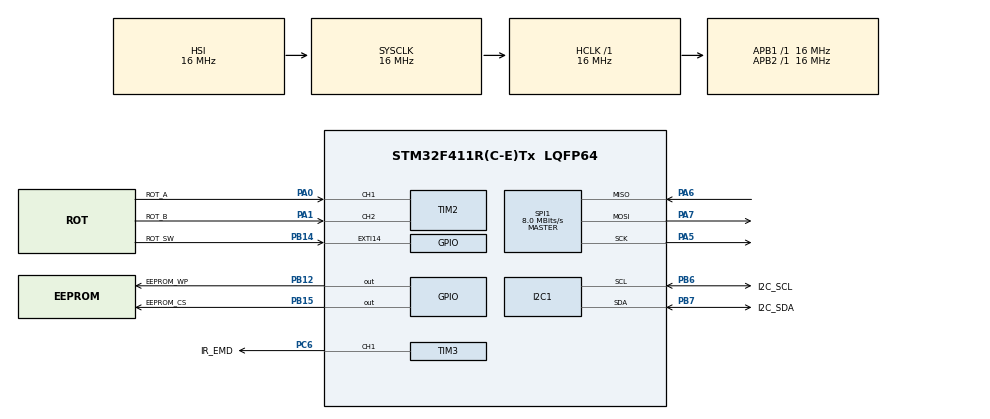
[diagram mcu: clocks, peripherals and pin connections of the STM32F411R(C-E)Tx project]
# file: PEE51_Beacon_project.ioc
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Mcu.Family=STM32F4
Mcu.Name=STM32F411R(C-E)Tx
Mcu.Package=LQFP64
NVIC.EXTI15_10_IRQn=true\:0\:0\:false\:false\:true\:true\:true\:true
NVIC.PriorityGroup=NVIC_PRIORITYGROUP_4
NVIC.TIM2_IRQn=true\:0\:0\:false\:false\:true\:true\:true\:true
NVIC.TIM4_IRQn=true\:0\:0\:false\:false\:true\:true\:true\:true
PA0-WKUP.GPIO_Label=ROT_A
PA0-WKUP.Signal=S_TIM2_CH1_ETR
PA1.GPIO_Label=ROT_B
PA1.Signal=S_TIM2_CH2
PA13.GPIO_Label=SWDIO
PA13.Mode=Serial_Wire
PA13.Signal=SYS_JTMS-SWDIO
PA14.GPIO_Label=SWCLK
PA14.Mode=Serial_Wire
PA14.Signal=SYS_JTCK-SWCLK
PA5.Mode=Full_Duplex_Master
PA5.Signal=SPI1_SCK
PA6.Mode=Full_Duplex_Master
PA6.Signal=SPI1_MISO
PA7.Mode=Full_Duplex_Master
PA7.Signal=SPI1_MOSI
PB12.GPIO_Label=EEPROM_WP
PB12.Signal=GPIO_Output
PB14.GPIO_Label=ROT_SW
PB14.GPIO_PuPd=GPIO_PULLUP
PB14.Signal=GPXTI14
PB15.GPIO_Label=EEPROM_CS
PB15.Signal=GPIO_Output
PB3.Signal=SYS_JTDO-SWO
PB6.GPIO_Label=I2C_SCL
PB6.Mode=I2C
PB6.Signal=I2C1_SCL
PB7.GPIO_Label=I2C_SDA
PB7.Mode=I2C
PB7.Signal=I2C1_SDA
PC6.GPIO_Label=IR_EMD
PC6.Signal=S_TIM3_CH1
PH0\ -\ OSC_IN.Mode=HSE-External-Oscillator
PH0\ -\ OSC_IN.Signal=RCC_OSC_IN
PH1\ -\ OSC_OUT.Mode=HSE-External-Oscillator
PH1\ -\ OSC_OUT.Signal=RCC_OSC_OUT
ProjectManager.HeapSize=0x200
ProjectManager.StackSize=0x400
ProjectManager.TargetToolchain=STM32CubeIDE
RCC.48MHZClocksFreq_Value=48000000
RCC.AHBFreq_Value=16000000
RCC.APB1Freq_Value=16000000
RCC.APB1TimFreq_Value=16000000
RCC.APB2Freq_Value=16000000
RCC.APB2TimFreq_Value=16000000
RCC.CortexFreq_Value=16000000
RCC.HCLKFreq_Value=16000000
RCC.HSE_VALUE=8000000
RCC.HSI_VALUE=16000000
RCC.LSE_VALUE=32768
RCC.SYSCLKFreq_VALUE=16000000
RCC.VCOOutputFreq_Value=192000000
SH.S_TIM2_CH1_ETR.0=TIM2_CH1,Encoder_Interface
SH.S_TIM2_CH2.0=TIM2_CH2,Encoder_Interface
SH.S_TIM3_CH1.0=TIM3_CH1,PWM Generation1 CH1
SPI1.CalculateBaudRate=8.0 MBits/s
SPI1.Direction=SPI_DIRECTION_2LINES
SPI1.Mode=SPI_MODE_MASTER
SPI1.VirtualType=VM_MASTER
TIM2.IC1Polarity=TIM_ICPOLARITY_FALLING
TIM3.AutoReloadPreload=TIM_AUTORELOAD_PRELOAD_ENABLE
TIM3.Channel-PWM\ Generation1\ CH1=TIM_CHANNEL_1
TIM3.Period=106-1
TIM3.Prescaler=4-1
TIM3.Pulse-PWM\ Generation1\ CH1=52
TIM4.Period=899
TIM4.Prescaler=16
VP_TIM3_VS_ClockSourceINT.Mode=Internal
VP_TIM4_VS_ClockSourceINT.Mode=Internal
board=custom

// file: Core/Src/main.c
/* USER CODE BEGIN Header */
/**
 ******************************************************************************
 * @file           : main.c
 * @brief          : Main program body
 ******************************************************************************
 * @attention
 *
 * Copyright (c) 2024 STMicroelectronics.
 * All rights reserved.
 *
 * This software is licensed under terms that can be found in the LICENSE file
 * in the root directory of this software component.
 * If no LICENSE file comes with this software, it is provided AS-IS.
 *
 * This program was made for a project named Interactive Glasses and was
 * This constructed for the TU-Delft.
 * Writers of this code:
 * Mees de Jong
 * Yu Cheng Zhong
 * Rembrandt Dassen
 * Martijn Koelewijn
 ******************************************************************************
 */
/* USER CODE END Header */
#include "main.h"
#include "i2c.h"
#include "spi.h"
#include "tim.h"
#include "gpio.h"

/* USER CODE BEGIN Includes */
#include "ssd1306.h"
#include "fonts.h"
#include "stdbool.h"
#include "stdio.h"
#include "string.h"
#include "math.h"
/* USER CODE END Includes */

/* USER CODE BEGIN PV */
// message array is the array that is used to output the manchester encoded bits
// this message array is thus twice as big as the amount of data sent
int16_t data_message = 0; // data to be transmitted, first lsb need to be1 always
uint32_t transmit_message = 0b00000000000000000000000000000001; // message to be transmitted, first two least significant bits need to be 0x01 always
int count = 0;		// count used for keeping track of amount of times IR interrupt is entered

uint16_t RC_counter = 0;
uint16_t time_passed = 0;
bool time_reached = false;
uint16_t Dispurtion_time = 0;

// HMI settings and variables
int counter = 0;
int counter_old = 0;
static int menu_position = 0;
char str[10];
bool left;
bool right;
static bool setting_isbron = true;
static uint8_t setting_intensiteit = 0;
uint16_t setting_timer = 0;
uint8_t setting_timer_deel1 = 0;
uint8_t setting_timer_deel2 = 0;
static int seconds = 0;
bool save_data = 0;

enum size {
	small = 0, big = 1
};

// Instructions and memory addresses for the EEPROM

const uint8_t EEPROM_READ = 0b00000011;	//READ
const uint8_t EEPROM_WRITE = 0b00000010;	//WRITE
const uint8_t EEPROM_WRDI = 0b00000100;	//WRITE DISABLE
const uint8_t EEPROM_WREN = 0b00000110;	//WRITE ENABLE
const uint8_t EEPROM_RDSR = 0b00000101;	//READ STATUS REGISTER
const uint8_t EEPROM_WRSR = 0b00000001;	//WRITE STATUS REGISTER
const uint8_t MODE = 0b00000001;	//SETTING MODE OPSLAG LOCATIE
const uint8_t INTENSITEIT = 0b00000010;	//SETTING INTENSITEIT OPSLAG LOCATIE
const uint8_t DISPERSIONTIME1 = 0b00000011;	//SETTINGS DISPERSIONTIME DEEL 1 OPSLAG LOCATIE
const uint8_t DISPERSIONTIME2 = 0b00000100;	//SETTINGS DISPERSIONTIME DEEL 2 OPSLAG LOCATIE

/* USER CODE END PV */

void SystemClock_Config(void);

/* USER CODE BEGIN 0 */
void user_pwm_setvalue(uint16_t value)
{
    TIM_OC_InitTypeDef sConfigOC;

    sConfigOC.OCMode = TIM_OCMODE_PWM1;
    sConfigOC.Pulse = value;
    sConfigOC.OCPolarity = TIM_OCPOLARITY_HIGH;
    sConfigOC.OCFastMode = TIM_OCFAST_DISABLE;
    HAL_TIM_PWM_ConfigChannel(&htim3, &sConfigOC, TIM_CHANNEL_1);
    HAL_TIM_PWM_Start(&htim3, TIM_CHANNEL_1);
}

void data_to_transmit() {
	for (int i = 0; i < 16; i++)
	{
		if (data_message & (1 << i)) {
			transmit_message |= (1 << (i * 2));
			transmit_message &= ~(1 << (i * 2 + 1));
		} else {
			transmit_message &= ~(1 << (i * 2));
			transmit_message |= (1 << (i * 2 + 1));
		}
	}
}

void print_time(enum size size) {
	if (size == big) {
		ssd1306_SetCursor(0, 20);
		if (setting_timer / 3600 > 0) {
			sprintf(str, "%dh", setting_timer / 3600);
			ssd1306_WriteString(str, Font_16x26, White);
		} else if (setting_timer / 60 > 0) {
			sprintf(str, "%dm %ds", setting_timer / 60, setting_timer % 60);
			ssd1306_WriteString(str, Font_16x26, White);
		} else {
			sprintf(str, "%ds", setting_timer % 60);
			ssd1306_WriteString(str, Font_16x26, White);
		}

	} else {

		if (setting_timer <= 0) {
		}
		if (setting_timer / 3600 > 0) {
			sprintf(str, "%dh", setting_timer / 3600);
			ssd1306_WriteString(str, Font_7x10, White);
		} else if (setting_timer / 60 > 0) {
			sprintf(str, "%dm %ds", setting_timer / 60, setting_timer % 60);
			ssd1306_WriteString(str, Font_7x10, White);
		} else {
			sprintf(str, "%ds", setting_timer % 60);
			ssd1306_WriteString(str, Font_7x10, White);
		}
	}
}

void save_settings(uint8_t *address, uint8_t *value) {
	HAL_GPIO_WritePin(GPIOB, EEPROM_CS_Pin, GPIO_PIN_RESET);
	HAL_SPI_Transmit(&hspi1, (uint8_t*) &EEPROM_WREN, 1, 100);
	HAL_GPIO_WritePin(GPIOB, EEPROM_CS_Pin, GPIO_PIN_SET);
	HAL_Delay(100);
	HAL_GPIO_WritePin(GPIOB, EEPROM_CS_Pin, GPIO_PIN_RESET);
	HAL_SPI_Transmit(&hspi1, (uint8_t*) &EEPROM_WRITE, 1, 100);
	HAL_SPI_Transmit(&hspi1, address, 1, 100);
	HAL_SPI_Transmit(&hspi1, value, 1, 100);//Bron setting
	HAL_GPIO_WritePin(GPIOB, EEPROM_CS_Pin, GPIO_PIN_SET);
	HAL_Delay(100);
	HAL_GPIO_WritePin(GPIOB, EEPROM_CS_Pin, GPIO_PIN_RESET);
	HAL_SPI_Transmit(&hspi1, (uint8_t*) &EEPROM_WRDI, 1, 100);
	HAL_GPIO_WritePin(GPIOB, EEPROM_CS_Pin, GPIO_PIN_SET);
	HAL_Delay(100);
}
/* USER CODE END 0 */

int main(void)
{

  /* MCU Configuration--------------------------------------------------------*/

  /* Reset of all peripherals, Initializes the Flash interface and the Systick. */
  HAL_Init();

  /* Configure the system clock */
  SystemClock_Config();

  /* Initialize all configured peripherals */
  MX_GPIO_Init();
  MX_I2C1_Init();
  MX_TIM2_Init();
  MX_SPI1_Init();
  MX_TIM3_Init();
  MX_TIM4_Init();
  /* USER CODE BEGIN 2 */

	HAL_TIM_Encoder_Start_IT(&htim2, TIM_CHANNEL_ALL);

	if (ssd1306_Init(&hi2c1) != 0) {
		Error_Handler();
	}
	HAL_Delay(200);

	ssd1306_Fill(Black);
	ssd1306_UpdateScreen(&hi2c1);

	HAL_Delay(200);

	// Write data to local screenbuffer
	ssd1306_SetCursor(0, 0);
	ssd1306_WriteString("Starting up", Font_7x10, White);

	ssd1306_SetCursor(0, 15);
	ssd1306_WriteString("Interactive", Font_7x10, White);

	ssd1306_SetCursor(0, 30);
	ssd1306_WriteString("Glasses", Font_7x10, White);

	ssd1306_SetCursor(0, 45);
	ssd1306_WriteString("Software V1.3", Font_7x10, White);
	// Copy all data from local screenbuffer to the screen
	ssd1306_UpdateScreen(&hi2c1);

	HAL_Delay(2000);

	uint8_t status = 0;
	uint8_t SETTINGS1 = 0;
	uint8_t SETTINGS2 = 0;
	uint8_t SETTINGS3 = 0;
	uint8_t SETTINGS4 = 0;
	uint16_t SETTINGS5 = 0;
//int test2 = 0;

	HAL_GPIO_WritePin(GPIOB, EEPROM_WP_Pin, GPIO_PIN_SET);
	HAL_GPIO_WritePin(GPIOB, EEPROM_CS_Pin, GPIO_PIN_RESET);
	HAL_SPI_Transmit(&hspi1, (uint8_t*) &EEPROM_WREN, 1, 100);
	HAL_GPIO_WritePin(GPIOB, EEPROM_CS_Pin, GPIO_PIN_SET);
	HAL_Delay(100);
	HAL_GPIO_WritePin(GPIOB, EEPROM_CS_Pin, GPIO_PIN_RESET);
	HAL_SPI_Transmit(&hspi1, (uint8_t*) &EEPROM_RDSR, 1, 100);
	HAL_SPI_Receive(&hspi1, &status, 1, 100);
	HAL_GPIO_WritePin(GPIOB, EEPROM_CS_Pin, GPIO_PIN_SET);
	HAL_Delay(100);

	HAL_GPIO_WritePin(GPIOB, EEPROM_CS_Pin, GPIO_PIN_RESET);
	HAL_SPI_Transmit(&hspi1, (uint8_t*) &EEPROM_READ, 1, 100);
	HAL_SPI_Transmit(&hspi1, (uint8_t*) &MODE, 1, 100);
	HAL_SPI_Receive(&hspi1, &SETTINGS1, 1, 100);
	HAL_GPIO_WritePin(GPIOB, EEPROM_CS_Pin, GPIO_PIN_SET);
	HAL_Delay(100);

	HAL_GPIO_WritePin(GPIOB, EEPROM_CS_Pin, GPIO_PIN_RESET);
	HAL_SPI_Transmit(&hspi1, (uint8_t*) &EEPROM_READ, 1, 100);
	HAL_SPI_Transmit(&hspi1, (uint8_t*) &INTENSITEIT, 1, 100);
	HAL_SPI_Receive(&hspi1, &SETTINGS2, 1, 100);
	HAL_GPIO_WritePin(GPIOB, EEPROM_CS_Pin, GPIO_PIN_SET);
	HAL_Delay(100);

	HAL_GPIO_WritePin(GPIOB, EEPROM_CS_Pin, GPIO_PIN_RESET);
	HAL_SPI_Transmit(&hspi1, (uint8_t*) &EEPROM_READ, 1, 100);
	HAL_SPI_Transmit(&hspi1, (uint8_t*) &DISPERSIONTIME1, 1, 100);
	HAL_SPI_Receive(&hspi1, &SETTINGS3, 1, 100);
	HAL_GPIO_WritePin(GPIOB, EEPROM_CS_Pin, GPIO_PIN_SET);
	HAL_Delay(100);

	HAL_GPIO_WritePin(GPIOB, EEPROM_CS_Pin, GPIO_PIN_RESET);
	HAL_SPI_Transmit(&hspi1, (uint8_t*) &EEPROM_READ, 1, 100);
	HAL_SPI_Transmit(&hspi1, (uint8_t*) &DISPERSIONTIME2, 1, 100);
	HAL_SPI_Receive(&hspi1, &SETTINGS4, 1, 100);
	HAL_GPIO_WritePin(GPIOB, EEPROM_CS_Pin, GPIO_PIN_SET);
	HAL_Delay(100);

	HAL_GPIO_WritePin(GPIOB, EEPROM_CS_Pin, GPIO_PIN_RESET);
	HAL_SPI_Transmit(&hspi1, (uint8_t*) &EEPROM_WRDI, 1, 100);
	HAL_GPIO_WritePin(GPIOB, EEPROM_CS_Pin, GPIO_PIN_SET);

	SETTINGS5 = (SETTINGS3 | (SETTINGS4 << 8)); // Recover full timer value

	if ((SETTINGS2 > 0 && SETTINGS2 <= 250) || (SETTINGS5 > 0 && SETTINGS5 <= 3600)) {
		setting_isbron = SETTINGS1;
		setting_intensiteit = SETTINGS2;
		setting_timer = SETTINGS5;
		menu_position = 4;
		EXTI->SWIER |= EXTI_SWIER_SWIER14;

	}
	else {
		ssd1306_Fill(Black);
		ssd1306_UpdateScreen(&hi2c1);
		ssd1306_SetCursor(0, 0);
		ssd1306_WriteString("Rotate to begin", Font_7x10, White);
		ssd1306_UpdateScreen(&hi2c1);

	}

	if (HAL_TIM_Base_Start_IT(&htim4) != HAL_OK) {
		/* Starting Error */
		Error_Handler();
	}

  /* USER CODE END 2 */

  /* Infinite loop */
	while (1) {

    /* USER CODE BEGIN 3 */
		if (save_data == 1) {
			save_settings((uint8_t*) &MODE, (uint8_t*) &setting_isbron);
			save_settings((uint8_t*) &INTENSITEIT, (uint8_t*) &setting_intensiteit);
			save_settings((uint8_t*) &DISPERSIONTIME1, (uint8_t*) &setting_timer_deel1);
			save_settings((uint8_t*) &DISPERSIONTIME2, (uint8_t*) &setting_timer_deel2);
			save_data = 0;
		}

	}
  /* USER CODE END 3 */
}

void SystemClock_Config(void)
{
  RCC_OscInitTypeDef RCC_OscInitStruct = {0};
  RCC_ClkInitTypeDef RCC_ClkInitStruct = {0};

  /** Configure the main internal regulator output voltage
  */
  __HAL_RCC_PWR_CLK_ENABLE();
  __HAL_PWR_VOLTAGESCALING_CONFIG(PWR_REGULATOR_VOLTAGE_SCALE1);

  /** Initializes the RCC Oscillators according to the specified parameters
  * in the RCC_OscInitTypeDef structure.
  */
  RCC_OscInitStruct.OscillatorType = RCC_OSCILLATORTYPE_HSI;
  RCC_OscInitStruct.HSIState = RCC_HSI_ON;
  RCC_OscInitStruct.HSICalibrationValue = RCC_HSICALIBRATION_DEFAULT;
  RCC_OscInitStruct.PLL.PLLState = RCC_PLL_NONE;
  if (HAL_RCC_OscConfig(&RCC_OscInitStruct) != HAL_OK)
  {
    Error_Handler();
  }

  /** Initializes the CPU, AHB and APB buses clocks
  */
  RCC_ClkInitStruct.ClockType = RCC_CLOCKTYPE_HCLK|RCC_CLOCKTYPE_SYSCLK
                              |RCC_CLOCKTYPE_PCLK1|RCC_CLOCKTYPE_PCLK2;
  RCC_ClkInitStruct.SYSCLKSource = RCC_SYSCLKSOURCE_HSI;
  RCC_ClkInitStruct.AHBCLKDivider = RCC_SYSCLK_DIV1;
  RCC_ClkInitStruct.APB1CLKDivider = RCC_HCLK_DIV1;
  RCC_ClkInitStruct.APB2CLKDivider = RCC_HCLK_DIV1;

  if (HAL_RCC_ClockConfig(&RCC_ClkInitStruct, FLASH_LATENCY_0) != HAL_OK)
  {
    Error_Handler();
  }
}

/* USER CODE BEGIN 4 */
void HAL_GPIO_EXTI_Callback(uint16_t GPIO_Pin) {
	NVIC_DisableIRQ(TIM4_IRQn);
	TIM4->CR1 &= ~TIM_CR1_CEN;
	TIM4->CNT = 0;

	// Disable receiving inteerupts

	NVIC_EnableIRQ(TIM2_IRQn);

	switch (menu_position) {
	case 0:
		if (left == true && right == false) {
			setting_isbron = true;
			menu_position = 1;
		} else if (left == false && right == true) {
			setting_isbron = false;
			menu_position = 2;
		}

		break;
	case 1:
		menu_position = 2;

		break;
	case 2:
		menu_position = 3;

		break;
	case 3:
		menu_position = 4;
		break;

	}

	ssd1306_SetCursor(0, 0);
	ssd1306_Fill(Black);
	switch (menu_position) {
	case 1:
		ssd1306_WriteString("Intensity ", Font_7x10, White);
		ssd1306_SetCursor(0, 20);
		sprintf(str, "%d", setting_intensiteit);
		ssd1306_WriteString(str, Font_16x26, White);
		break;
	case 2:
		ssd1306_WriteString("Dispersion time ", Font_7x10, White);
		ssd1306_SetCursor(0, 20);
		sprintf(str, "%ds", seconds);
		ssd1306_WriteString(str, Font_16x26, White);

		break;
	case 3:
		ssd1306_WriteString("Dispersion time ", Font_7x10, White);
		ssd1306_SetCursor(0, 20);
		if (setting_timer / 3600 > 0) {
			sprintf(str, "%dh", setting_timer / 3600);
			ssd1306_WriteString(str, Font_16x26, White);
		} else if (setting_timer / 60 > 0) {
			sprintf(str, "%dm %ds", setting_timer / 60, setting_timer % 60);
			ssd1306_WriteString(str, Font_16x26, White);
		} else {
			sprintf(str, "%ds", setting_timer % 60);
			ssd1306_WriteString(str, Font_16x26, White);
		}
		break;
	case 4:
		if (setting_isbron == true) {
			ssd1306_WriteString("Setup: Source", Font_7x10, White);
			ssd1306_SetCursor(0, 15);
			ssd1306_WriteString("Intensity:", Font_7x10, White);
			ssd1306_SetCursor(69, 15);
			sprintf(str, "%d", setting_intensiteit / 50);
			ssd1306_WriteString(str, Font_7x10, White);
			ssd1306_SetCursor(0, 30);
			ssd1306_WriteString("Dispersion:", Font_7x10, White);
			ssd1306_SetCursor(78, 30);
			print_time(small);
			ssd1306_SetCursor(0, 45);
			ssd1306_WriteString("Rotate to darken", Font_7x10, White);
			setting_timer_deel1 = (uint8_t) (setting_timer);
			setting_timer_deel2 = (uint8_t) (setting_timer >> 8);
			save_data = 1;

		} else {
			ssd1306_WriteString("Setup: Node", Font_7x10, White);
			ssd1306_SetCursor(0, 15);
			ssd1306_WriteString("Dispersion:", Font_7x10, White);
			ssd1306_SetCursor(80, 15);
			print_time(small);
			ssd1306_SetCursor(0, 45);
			ssd1306_WriteString("Rotate to darken", Font_7x10, White);
			setting_timer_deel1 = (uint8_t) (setting_timer);
			setting_timer_deel2 = (uint8_t) (setting_timer >> 8);
			save_data = 1;
		}

		menu_position = 5; //Goto enable sender
		break;
	case 5:
		ssd1306_WriteString("Reset? press to", Font_7x10, White);
		ssd1306_SetCursor(0, 10);
		ssd1306_WriteString("confirm", Font_7x10, White);
		ssd1306_SetCursor(0, 30);
		ssd1306_WriteString("Rotate to darken", Font_7x10, White);
		menu_position = 6;
		break;
	case 6:
		ssd1306_WriteString("Reset confirmed!", Font_7x10, White);
		ssd1306_SetCursor(0, 20);
		ssd1306_WriteString("Rotate to begin", Font_7x10, White);
		setting_intensiteit = 0;
		setting_timer = 0;
		time_passed = 0;
		time_reached = false;
		menu_position = 0;
		break;

	}
	ssd1306_UpdateScreen(&hi2c1);

}

void HAL_TIM_IC_CaptureCallback(TIM_HandleTypeDef *htim) {

	counter = (__HAL_TIM_GET_COUNTER(htim) / 4);

	if (counter > counter_old) {

		left = true;
		right = false;

		ssd1306_SetCursor(0, 0);
		ssd1306_Fill(Black);
		switch (menu_position) {
		case 0:
			ssd1306_WriteString("Setup as", Font_7x10, White);
			ssd1306_SetCursor(0, 20);
			ssd1306_WriteString("Source", Font_16x26, White);
			break;
		case 1:
			ssd1306_WriteString("Intensity ", Font_7x10, White);
			if (setting_intensiteit <= 0) {
				setting_intensiteit = 0;
			} else {
				setting_intensiteit = setting_intensiteit - 50;
			}
			ssd1306_SetCursor(0, 20);
			sprintf(str, "%d", setting_intensiteit / 50);
			ssd1306_WriteString(str, Font_16x26, White);
			break;
		case 2:
			ssd1306_WriteString("Dispersion time ", Font_7x10, White);
			if (setting_timer <= 0) {
			} else {
				setting_timer = setting_timer - 300;
			}
			print_time(big);
			break;
		case 3:
			ssd1306_WriteString("Dispersion time ", Font_7x10, White);
			if (setting_timer <= 0) {
			} else {
				setting_timer = setting_timer - 30;
			}
			print_time(big);
			break;
		case 5:
			if (setting_isbron) {
				Dispurtion_time = setting_timer;
				NVIC_EnableIRQ(TIM4_IRQn); // Enable sending interrupe
				TIM4->CR1 |= TIM_CR1_CEN; // Enable timer counter
				TIM4->CNT = 0;
			}
			else {
				// Enable receiving interrupts
			}
			NVIC_DisableIRQ(TIM2_IRQn); // Disable Rotary encoder
			break;
		case 6:
			menu_position = 5;
			if (setting_isbron) {
				Dispurtion_time = setting_timer;
				NVIC_EnableIRQ(TIM4_IRQn); // Enable sending interrupe
				TIM4->CR1 |= TIM_CR1_CEN; // Enable timer counter
				TIM4->CNT = 0;
			}
			else {
				// enable receiving interrupts
			}
			NVIC_DisableIRQ(TIM2_IRQn); // Disable Rotary encoder
			break;

		}
	} else if (counter < counter_old) {

		right = true;
		left = false;
		ssd1306_SetCursor(0, 0);
		ssd1306_Fill(Black);
		switch (menu_position) {
		case 0:
			ssd1306_WriteString("Setup as", Font_7x10, White);
			ssd1306_SetCursor(0, 20);
			ssd1306_WriteString("(Node)", Font_16x26, White);
			break;
		case 1:
			ssd1306_WriteString("Intensity ", Font_7x10, White);
			if (setting_intensiteit >= 250) {
				setting_intensiteit = 250;
			} else {
				setting_intensiteit = setting_intensiteit + 50;
			}
			ssd1306_SetCursor(0, 20);
			sprintf(str, "%d", setting_intensiteit / 50);
			ssd1306_WriteString(str, Font_16x26, White);
			break;
		case 2:
			ssd1306_WriteString("Dispersion time ", Font_7x10, White);
			if (setting_timer >= 3600) {
			} else {
				setting_timer = setting_timer + 300;
			}
			ssd1306_SetCursor(0, 20);
			print_time(big);
			break;
		case 3:
			ssd1306_WriteString("Dispersion time ", Font_7x10, White);
			if (setting_timer >= 3600) {
			} else {
				setting_timer = setting_timer + 30;
			}
			ssd1306_SetCursor(0, 20);
			print_time(big);
			break;
		case 5:
			if (setting_isbron) {
				Dispurtion_time = setting_timer;
				NVIC_EnableIRQ(TIM4_IRQn); // Enable sending interrupe
				TIM4->CR1 |= TIM_CR1_CEN; // Enable timer counter
				TIM4->CNT = 0;
			}
			else {
				// Enable receiving interrupts
			}
			NVIC_DisableIRQ(TIM2_IRQn); // Disable Rotary encoder
			break;
		case 6:
			menu_position = 5;
			if (setting_isbron) {
				Dispurtion_time = setting_timer;
				NVIC_EnableIRQ(TIM4_IRQn); // Enable sending interrupe
				TIM4->CR1 |= TIM_CR1_CEN; // Enable timer counter
				TIM4->CNT = 0;
			}
			else {
				// Enable receiving interrupts
			}
			NVIC_DisableIRQ(TIM2_IRQn); // Disable Rotary encoder
			break;

		}

	}
	counter_old = counter;
	ssd1306_UpdateScreen(&hi2c1);

}

void HAL_TIM_PeriodElapsedCallback(TIM_HandleTypeDef *htim)
{
	if (Dispurtion_time == 0 && !time_reached) {
		data_message = (setting_intensiteit << 1) | 1;
		time_reached = true;
	} else if (time_passed < Dispurtion_time && !time_reached) {
		if (RC_counter == 0) {
			data_message = ((time_passed * setting_intensiteit / Dispurtion_time) << 1) | 1;
			RC_counter = 1112; //Time needed to count to 1 second
			time_passed++;
			setting_timer--;

			ssd1306_Fill(Black); // reset the screen.
			print_time(big);
			ssd1306_UpdateScreen(&hi2c1);
		}
	} else {
		if (!time_reached) time_reached = true;
		data_message = (setting_intensiteit << 1) | 1;
	}

	if (count < TRANSMISSION_SIZE) {// checks if in first 16 iterations of the message loop
		if (transmit_message & (1 << count)) {// checks if each bit of message array is 1
			user_pwm_setvalue(52);
		} else {					// else each bit of message array is 0
			user_pwm_setvalue(0);
		}
	} else if (count == TRANSMISSION_SIZE) {// checks if on 17th iteration of message loop
		user_pwm_setvalue(0);
		data_to_transmit();
	} else if (count > MESSAGE_DELAY) {	// checks if message loop exceeds message_delay so that message loop resets
		count = -1;	// resets count for message loop to -1 because next count is increased by 1 to 0
	}

	count++;

	if (RC_counter > 0) RC_counter--;
}
/* USER CODE END 4 */

void Error_Handler(void)
{
	__disable_irq();
	while (1) {
	}
}
